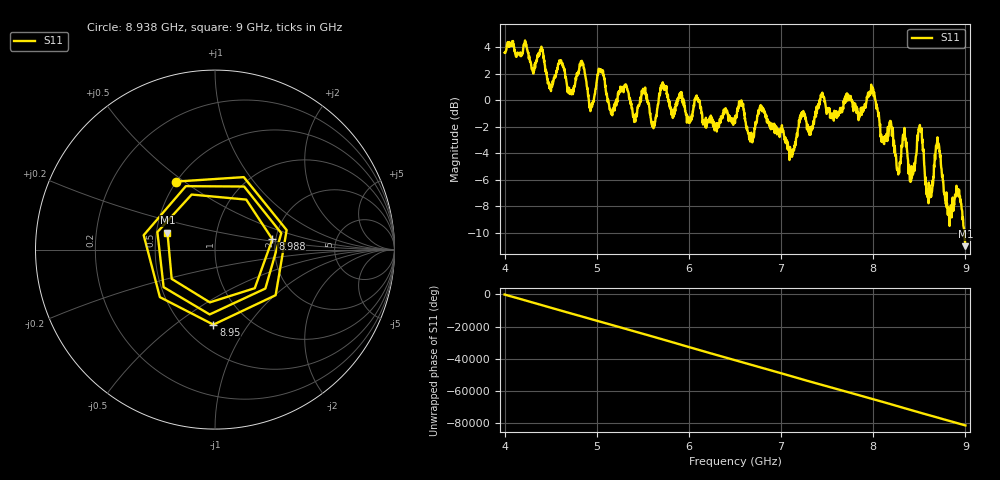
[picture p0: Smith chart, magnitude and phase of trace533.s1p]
! Created with skrf 1.8.0 (http://scikit-rf.org).
# Hz S RI R 50.0
!freq ReS11 ImS11
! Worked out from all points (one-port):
!   1601 points, 4 GHz to 9 GHz, reference 50 ohm
!   lowest |S11| = -11.0 dB at 9 GHz (marker M1), VSWR 1.78, Z = 28.6 + j5.9 ohm
!   |S11| at or under -10 dB: 8.989588 GHz to end of sweep
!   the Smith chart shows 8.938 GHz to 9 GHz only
!   S11 on the Smith chart (normalised r, x): 8.938 GHz: 0.50, +0.47; 8.95 GHz: 0.69, -0.70; 8.988 GHz: 1.92, +0.25; 9 GHz: 0.57, +0.12
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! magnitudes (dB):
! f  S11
! 4 GHz  3.6
! 4.625 GHz  2.8
! 4.725 GHz  0.4
! 4.841 GHz  2.9
! 4.941 GHz  -0.6
! 5.041 GHz  2.2
! 5.159 GHz  -1.1
! 5.25 GHz  0.7
! 5.609 GHz  -1.6
! 5.712 GHz  1.3
! 5.875 GHz  0.1
! 6.5 GHz  -1.7
! 6.681 GHz  -3.1
! 6.794 GHz  -0.6
! 7.125 GHz  -4.1
! 7.228 GHz  -0.9
! 7.75 GHz  0.1
! 7.994 GHz  1.0
! 8.103 GHz  -3.1
! 8.375 GHz  -4.4
! 8.509 GHz  -2.1
! 8.603 GHz  -6.2
! 8.7 GHz  -3.3
! 8.812 GHz  -8.2
! 8.938 GHz  -7.2
! 8.95 GHz  -7.6
! 8.988 GHz  -9.8
! 9 GHz  -11.0
